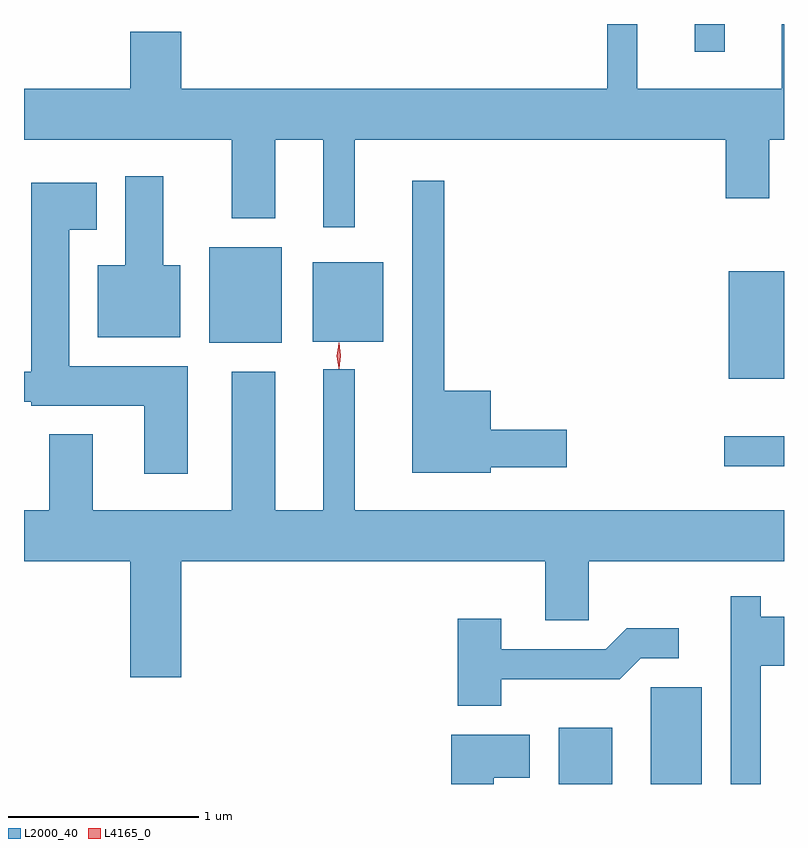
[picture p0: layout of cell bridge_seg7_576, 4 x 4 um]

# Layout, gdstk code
import gdstk
lib = gdstk.Library(unit=1e-6, precision=1e-09)
def R(c, l, rs):  # rectangles x0, y0, x1, y1
    for r in rs: c.add(gdstk.rectangle(r[:2], r[2:], *l))
def P(c, l, *ps):  # polygons
    for p in ps: c.add(gdstk.Polygon(p, *l))
L2000_40 = (2000, 40)
L4165_0 = (4165, 0)

bridge_seg7_576 = lib.new_cell('bridge_seg7_576')
R(bridge_seg7_576, L2000_40, [(656.891,1748.664,657.174,1748.959), (657.376,1748.664,657.644,1749.174), (657.763,1750.336,658.077,1750.494), (657.786,1750.796,658.077,1751.364), (655.051,1750.986,655.434,1751.489), (655.596,1750.991,655.969,1751.409), (657.606,1752.518,657.764,1752.664)])
P(bridge_seg7_576, L2000_40, [(657.771,1751.746),(657.999,1751.746),(657.999,1752.056),(658.077,1752.056),(658.077,1752.664),(658.066,1752.664),(658.066,1752.324),(657.304,1752.324),(657.304,1752.664),(657.146,1752.664),(657.146,1752.324),(654.904,1752.324),(654.904,1752.624),(654.636,1752.624),(654.636,1752.324),(654.077,1752.324),(654.077,1752.056),(655.171,1752.056),(655.171,1751.641),(655.399,1751.641),(655.399,1752.056),(655.651,1752.056),(655.651,1751.593),(655.819,1751.593),(655.819,1752.056),(657.771,1752.056)],
  [(654.899,1751.394),(654.809,1751.394),(654.809,1751.864),(654.611,1751.864),(654.611,1751.394),(654.466,1751.394),(654.466,1751.016),(654.899,1751.016)],
  [(656.534,1750.331),(656.934,1750.331),(656.934,1750.529),(656.534,1750.529),(656.534,1750.734),(656.289,1750.734),(656.289,1751.838),(656.121,1751.838),(656.121,1750.301),(656.534,1750.301)],
  [(654.939,1750.864),(654.314,1750.864),(654.314,1751.581),(654.459,1751.581),(654.459,1751.829),(654.116,1751.829),(654.116,1750.834),(654.077,1750.834),(654.077,1750.676),(654.116,1750.676),(654.116,1750.656),(654.711,1750.656),(654.711,1750.296),(654.939,1750.296)],
  [(654.904,1749.836),(656.821,1749.836),(656.821,1749.526),(657.049,1749.526),(657.049,1749.836),(658.077,1749.836),(658.077,1750.104),(655.819,1750.104),(655.819,1750.848),(655.651,1750.848),(655.651,1750.104),(655.399,1750.104),(655.399,1750.834),(655.171,1750.834),(655.171,1750.104),(654.439,1750.104),(654.439,1750.504),(654.211,1750.504),(654.211,1750.104),(654.077,1750.104),(654.077,1749.836),(654.636,1749.836),(654.636,1749.226),(654.904,1749.226)],
  [(657.954,1749.286),(658.077,1749.286),(658.077,1749.544),(657.954,1749.544),(657.954,1749.653),(657.796,1749.653),(657.796,1748.664),(657.954,1748.664)],
  [(656.589,1749.216),(657.212,1749.216),(657.322,1749.326),(657.523,1749.326),(657.523,1749.484),(657.249,1749.484),(657.139,1749.374),(656.589,1749.374),(656.589,1749.534),(656.361,1749.534),(656.361,1749.076),(656.589,1749.076)],
  [(656.549,1748.696),(656.739,1748.696),(656.739,1748.924),(656.326,1748.924),(656.326,1748.664),(656.549,1748.664)])
P(bridge_seg7_576, L4165_0, [(655.733,1750.853),(655.724,1750.917),(655.733,1750.982),(655.734,1750.982),(655.734,1750.982),(655.744,1750.917),(655.734,1750.853),(655.734,1750.853)],
  [(655.734,1750.85),(655.725,1750.918),(655.734,1750.986),(655.735,1750.986),(655.735,1750.986),(655.745,1750.918),(655.735,1750.85),(655.735,1750.85)])

lib.write_gds('bridge_seg7_576.gds')
